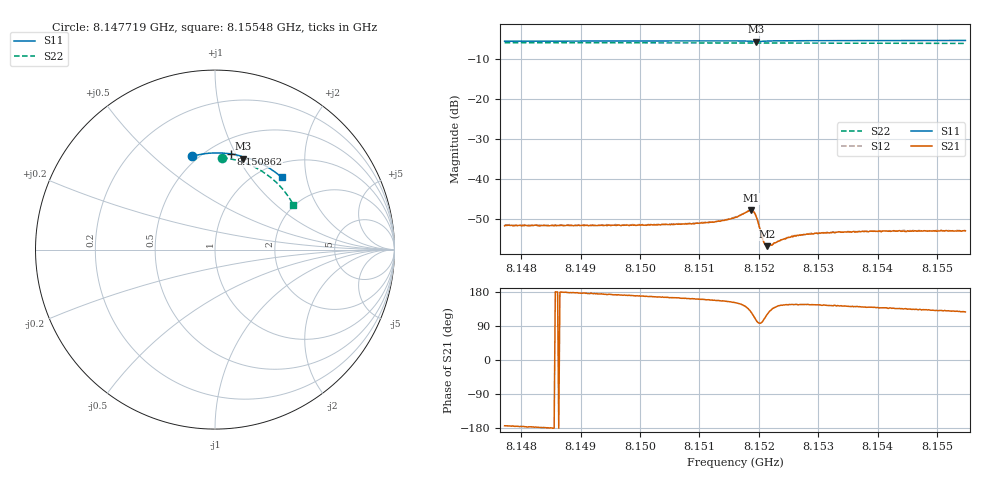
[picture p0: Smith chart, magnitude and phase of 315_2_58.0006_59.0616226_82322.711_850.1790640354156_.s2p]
#  HZ  S  RI  R  50.00
! Rohde & Schwarz Vector Network Analyzer
! Rohde-Schwarz,ZNB20-2Port,1311601062101988,3.16
! Created: UTC 3/21/2024, 1:04:21 AM
! freq[Hz]  re:S11  im:S11  re:S21  im:S21  re:S12  im:S12  re:S22  im:S22
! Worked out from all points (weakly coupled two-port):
!   401 points, 8.147719 GHz to 8.15548 GHz, reference 50 ohm
!   highest |S21| = -47.75 dB at 8.151871 GHz (marker M1); lowest = -56.8 dB at 8.152143 GHz (marker M2)
!   lowest |S11| = -5.5 dB at 8.151949 GHz (marker M3), VSWR 3.25, Z = 37.2 + j52.4 ohm
!   |S11| at or under -10 dB: nowhere
!   |S22| runs from -6.0 to -5.8 dB; largest |S21 - S12| = 0.00014
!   S11 on the Smith chart (normalised r, x): 8.147719 GHz: 0.46, +0.67; 8.150862 GHz: 0.63, +0.96; 8.15548 GHz: 1.26, +1.44
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8.147719e9  -0.1288 0.5196  -0.00259 -0.000295  -0.00268 -0.00029  0.04 0.5121
8.149019e9  -0.0397 0.536  -0.00264 0.000161  -0.00265 0.000184  0.1232 0.4972
8.1503189e9  0.0508 0.5375  -0.00264 0.000632  -0.00265 0.000649  0.2024 0.4688
8.1508622e9  0.0886 0.5334  -0.00261 0.000859  -0.00264 0.000932  0.2338 0.4531
8.1512308e9  0.1145 0.5288  -0.00268 0.00111  -0.00272 0.00111  0.2543 0.4414
8.1515995e9  0.141 0.522  -0.00291 0.00158  -0.00291 0.00164  0.2743 0.4285
8.1518129e9  0.1563 0.5134  -0.00287 0.0027  -0.00283 0.00278  0.2854 0.4206
8.1518711e9  0.1587 0.5093  -0.00242 0.0033  -0.0024 0.00336  0.2883 0.4183
8.1519099e9  0.1584 0.5067  -0.00177 0.00354  -0.00173 0.00358  0.2902 0.4168
8.1519487e9  0.1574 0.506  -0.000978 0.0034  -0.000941 0.00342  0.2922 0.4155
8.1519875e9  0.1569 0.5073  -0.000456 0.00287  -0.000408 0.00291  0.294 0.4141
8.1520652e9  0.1606 0.511  -0.000361 0.00173  -0.000378 0.00177  0.2979 0.4113
8.152104e9  0.1638 0.5119  -0.000545 0.00142  -0.000512 0.00147  0.3001 0.41
8.1521428e9  0.1669 0.5123  -0.000739 0.00125  -0.000733 0.00127  0.3021 0.4084
8.152201e9  0.1717 0.512  -0.000973 0.00113  -0.000963 0.00113  0.3049 0.4061
8.1523562e9  0.1837 0.5097  -0.00137 0.00101  -0.00137 0.00101  0.3128 0.3999
8.1525114e9  0.1947 0.5064  -0.00156 0.00103  -0.00156 0.00105  0.3204 0.3935
8.152686e9  0.2067 0.5023  -0.00167 0.00111  -0.00166 0.00113  0.3288 0.3862
8.1528995e9  0.221 0.4966  -0.00172 0.00116  -0.00174 0.0012  0.3388 0.3771
8.1533457e9  0.2493 0.4839  -0.00176 0.00131  -0.00175 0.00133  0.3588 0.3571
8.1541994e9  0.301 0.4551  -0.00164 0.00152  -0.00165 0.00155  0.3938 0.3159
8.15548e9  0.3715 0.4019  -0.00136 0.0018  -0.00138 0.00183  0.437 0.2485
